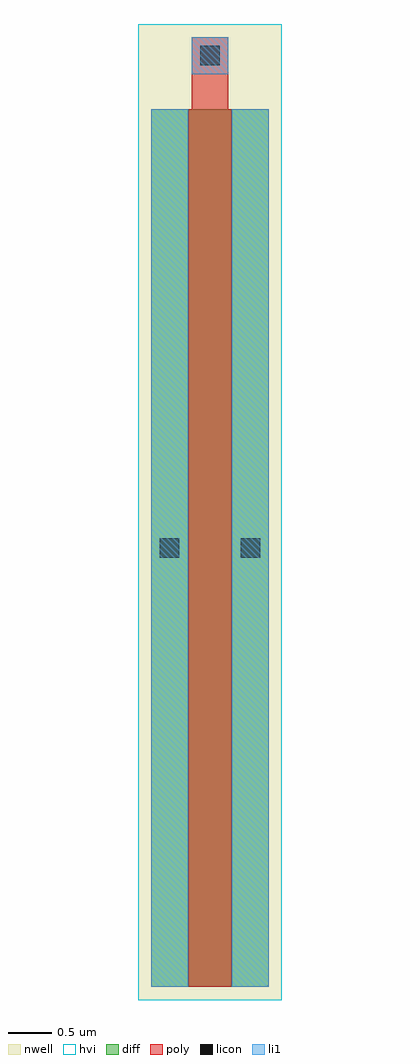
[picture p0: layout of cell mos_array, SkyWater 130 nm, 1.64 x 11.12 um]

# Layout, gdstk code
import gdstk
lib = gdstk.Library(unit=1e-6, precision=1e-09)
def R(c, l, rs):  # rectangles x0, y0, x1, y1
    for r in rs: c.add(gdstk.rectangle(r[:2], r[2:], *l))
nwell = (64, 20)
diff = (65, 20)
poly = (66, 20)
licon = (66, 44)
li1 = (67, 20)
hvi = (75, 20)

mos_array = lib.new_cell('mos_array')
R(mos_array, nwell, [(-0.15,-0.15,1.49,10.97)])
R(mos_array, diff, [(0,0,1.34,10)])
R(mos_array, poly, [(0.42,0,0.92,10), (0.46,10,0.88,10.82)])
R(mos_array, licon, [(0.1,4.89,0.32,5.11), (1.02,4.89,1.24,5.11), (0.56,10.5,0.78,10.72)])
R(mos_array, li1, [(0,0,0.42,10), (0.92,0,1.34,10), (0.46,10.4,0.88,10.82)])
R(mos_array, hvi, [(-0.15,-0.15,1.49,10.97)])

lib.write_gds('mos_array.gds')
